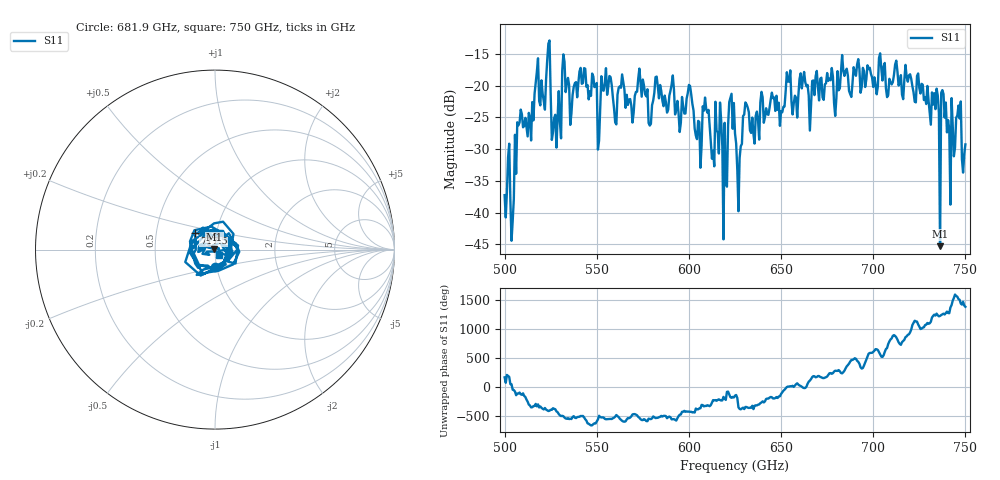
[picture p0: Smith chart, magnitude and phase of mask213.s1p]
!Created with skrf (http://scikit-rf.org).
# GHz S MA R 50.0
!freq magS11 angS11
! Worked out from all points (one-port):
!   401 points, 500 GHz to 750 GHz, reference 50 ohm
!   lowest |S11| = -45.3 dB at 736.2 GHz (marker M1), VSWR 1.01, Z = 49.5 + j0.286 ohm
!   |S11| at or under -10 dB: start of sweep to end of sweep
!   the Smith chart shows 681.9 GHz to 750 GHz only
!   S11 on the Smith chart (normalised r, x): 681.9 GHz: 0.98, -0.19; 717.5 GHz: 0.78, +0.15; 750 GHz: 1.04, -0.06
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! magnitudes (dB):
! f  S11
! 500 GHz  -37.2
! 504.4 GHz  -41.4
! 508.1 GHz  -25.8
! 513.1 GHz  -24.3
! 517.5 GHz  -17.8
! 523.8 GHz  -13.4
! 526.9 GHz  -25.1
! 531.2 GHz  -17.7
! 562.5 GHz  -20.1
! 593.8 GHz  -22.4
! 600.6 GHz  -20.1
! 605.6 GHz  -25.7
! 609.4 GHz  -23.7
! 619.4 GHz  -25.9
! 623.1 GHz  -21.3
! 625 GHz  -27.5
! 627.5 GHz  -31.4
! 630.6 GHz  -22.6
! 656.2 GHz  -24.5
! 681.9 GHz  -20.4
! 687.5 GHz  -21.3
! 717.5 GHz  -16.7
! 718.8 GHz  -19.4
! 736.2 GHz  -45.3
! 738.1 GHz  -21.3
! 743.1 GHz  -26.3
! 746.2 GHz  -23.1
! 750 GHz  -29.3
